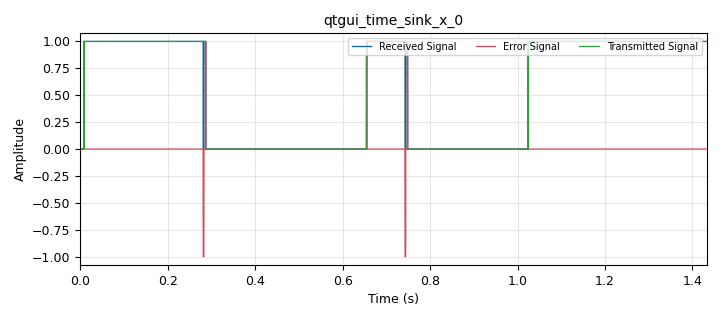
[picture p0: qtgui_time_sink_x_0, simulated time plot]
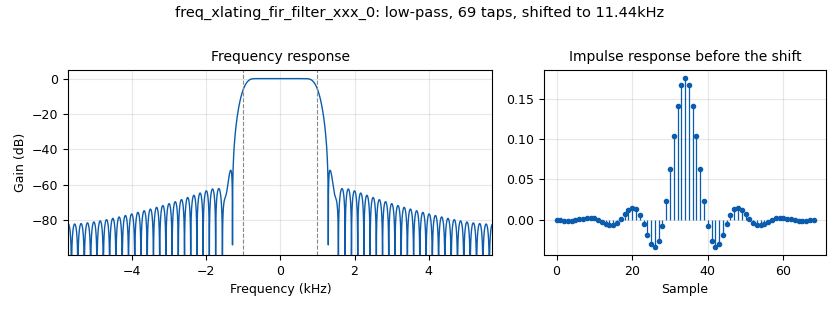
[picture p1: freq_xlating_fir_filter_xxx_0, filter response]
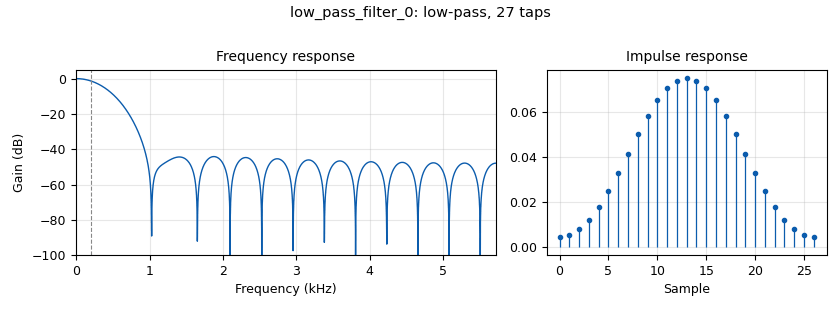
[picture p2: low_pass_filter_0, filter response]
options:
  parameters:
    author: notma
    generate_options: qt_gui
    id: BFSK
    output_language: python
    title: BFSK
  states: {}

blocks:
- name: baud
  id: variable
  parameters:
    value: '45.4545'
  states: {}
- name: centre
  id: variable
  parameters:
    value: '11440'
  states: {}
- name: delay
  id: variable_qtgui_range
  parameters:
    label: Delay
    start: '0'
    step: '1'
    stop: '100'
    value: '75'
  states: {}
- name: fsk_deviation
  id: variable
  parameters:
    value: '80'
  states: {}
- name: inp_amp
  id: variable
  parameters:
    value: '0.068'
  states: {}
- name: repeat
  id: variable
  parameters:
    value: '1056'
  states: {}
- name: samp_rate
  id: variable
  parameters:
    value: '11440'
  states: {}
- name: vco_max
  id: variable
  parameters:
    value: '2500'
  states: {}
- name: vco_offset
  id: variable
  parameters:
    value: '0.850'
  states: {}
- name: analog_quadrature_demod_cf_0
  id: analog_quadrature_demod_cf
  parameters:
    gain: samp_rate/(2*math.pi*fsk_deviation)
  states: {}
- name: analog_random_source_x_0
  id: analog_random_source_x
  parameters:
    max: '256'
    min: '0'
    num_samps: '1024'
    repeat: 'True'
    type: byte
  states: {}
- name: analog_simple_squelch_cc_0
  id: analog_simple_squelch_cc
  parameters:
    alpha: '1'
    threshold: '-70'
  states: {}
- name: blocks_add_const_vxx_0
  id: blocks_add_const_vxx
  parameters:
    const: vco_offset
    type: float
  states: {}
- name: blocks_delay_0
  id: blocks_delay
  parameters:
    delay: delay
    type: float
  states: {}
- name: blocks_delay_0_0
  id: blocks_delay
  parameters:
    delay: '77'
    type: byte
  states: {}
- name: blocks_multiply_const_vxx_0
  id: blocks_multiply_const_vxx
  parameters:
    const: inp_amp
    type: float
  states: {}
- name: blocks_repeat_0
  id: blocks_repeat
  parameters:
    interp: '1056'
    type: byte
  states: {}
- name: blocks_sub_xx_0
  id: blocks_sub_xx
  parameters:
    type: float
  states: {}
- name: blocks_throttle_0
  id: blocks_throttle
  parameters:
    samples_per_second: samp_rate
    type: byte
  states: {}
- name: blocks_uchar_to_float_0
  id: blocks_uchar_to_float
  parameters: {}
  states: {}
- name: blocks_uchar_to_float_1
  id: blocks_uchar_to_float
  parameters: {}
  states: {}
- name: blocks_unpack_k_bits_bb_0
  id: blocks_unpack_k_bits_bb
  parameters:
    k: '8'
  states: {}
- name: blocks_vco_f_0
  id: blocks_vco_f
  parameters:
    amplitude: '500'
    samp_rate: samp_rate
    sensitivity: (2*math.pi* vco_max)/1
  states: {}
- name: digital_binary_slicer_fb_0
  id: digital_binary_slicer_fb
  parameters: {}
  states: {}
- name: fec_ber_bf_0
  id: fec_ber_bf
  parameters:
    test_mode: 'False'
  states: {}
- name: freq_xlating_fir_filter_xxx_0
  id: freq_xlating_fir_filter_xxx
  parameters:
    center_freq: centre
    decim: '1'
    samp_rate: samp_rate
    taps: firdes.low_pass(1.0, samp_rate, 1000, 400)
    type: fcf
  states: {}
- name: low_pass_filter_0
  id: low_pass_filter
  parameters:
    cutoff_freq: '200'
    decim: '1'
    gain: '1'
    samp_rate: samp_rate
    type: fir_filter_fff
    width: '1000'
    win: window.WIN_HAMMING
  states: {}
- name: qtgui_number_sink_0
  id: qtgui_number_sink
  parameters:
    graph_type: qtgui.NUM_GRAPH_HORIZ
    name: BER
    type: float
  states: {}
- name: qtgui_time_sink_x_0
  id: qtgui_time_sink_x
  parameters:
    ctrlpanel: 'True'
    label1: Received Signal
    label2: Error Signal
    label3: Transmitted Signal
    nconnections: '3'
    size: '16384'
    srate: samp_rate
    type: float
    update_time: '0'
  states: {}
- name: virtual_sink_0
  id: virtual_sink
  parameters:
    stream_id: xmt_data
  states: {}
- name: virtual_sink_1
  id: virtual_sink
  parameters:
    stream_id: fsk_out
  states: {}
- name: virtual_sink_2
  id: virtual_sink
  parameters:
    stream_id: signal
  states: {}
- name: virtual_sink_3
  id: virtual_sink
  parameters:
    stream_id: other_signal
  states: {}
- name: virtual_source_0
  id: virtual_source
  parameters:
    stream_id: xmt_data
  states: {}
- name: virtual_source_1
  id: virtual_source
  parameters:
    stream_id: fsk_out
  states: {}
- name: virtual_source_2
  id: virtual_source
  parameters:
    stream_id: xmt_data
  states: {}

connections:
- [analog_quadrature_demod_cf_0, '0', digital_binary_slicer_fb_0, '0']
- [analog_random_source_x_0, '0', blocks_unpack_k_bits_bb_0, '0']
- [analog_simple_squelch_cc_0, '0', analog_quadrature_demod_cf_0, '0']
- [blocks_add_const_vxx_0, '0', blocks_vco_f_0, '0']
- [blocks_delay_0, '0', blocks_sub_xx_0, '1']
- [blocks_delay_0, '0', qtgui_time_sink_x_0, '2']
- [blocks_delay_0_0, '0', fec_ber_bf_0, '0']
- [blocks_multiply_const_vxx_0, '0', blocks_add_const_vxx_0, '0']
- [blocks_repeat_0, '0', blocks_throttle_0, '0']
- [blocks_sub_xx_0, '0', qtgui_time_sink_x_0, '1']
- [blocks_throttle_0, '0', blocks_delay_0_0, '0']
- [blocks_throttle_0, '0', blocks_uchar_to_float_0, '0']
- [blocks_throttle_0, '0', virtual_sink_2, '0']
- [blocks_uchar_to_float_0, '0', virtual_sink_0, '0']
- [blocks_uchar_to_float_1, '0', blocks_sub_xx_0, '0']
- [blocks_uchar_to_float_1, '0', qtgui_time_sink_x_0, '0']
- [blocks_unpack_k_bits_bb_0, '0', blocks_repeat_0, '0']
- [blocks_vco_f_0, '0', virtual_sink_1, '0']
- [digital_binary_slicer_fb_0, '0', blocks_uchar_to_float_1, '0']
- [digital_binary_slicer_fb_0, '0', fec_ber_bf_0, '1']
- [digital_binary_slicer_fb_0, '0', virtual_sink_3, '0']
- [fec_ber_bf_0, '0', qtgui_number_sink_0, '0']
- [freq_xlating_fir_filter_xxx_0, '0', analog_simple_squelch_cc_0, '0']
- [low_pass_filter_0, '0', blocks_multiply_const_vxx_0, '0']
- [virtual_source_0, '0', low_pass_filter_0, '0']
- [virtual_source_1, '0', freq_xlating_fir_filter_xxx_0, '0']
- [virtual_source_2, '0', blocks_delay_0, '0']

metadata:
  file_format: 1
